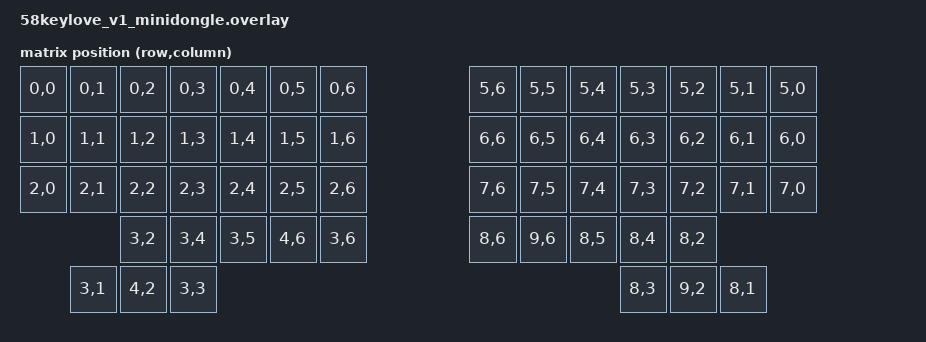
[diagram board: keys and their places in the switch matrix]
#include <dt-bindings/zmk/matrix_transform.h>

/ {
    chosen {
        zmk,kscan = &mock_kscan;
        zephyr,display = &oled;
        zmk,physical-layout = &physical_layout0;
    };

    mock_kscan: mock_kscan_0 {
        compatible = "zmk,kscan-mock";
        columns = <0>;
        rows = <0>;
        events = <0>;
    };

    default_transform: keymap_transform0 {
        compatible = "zmk,matrix-transform";
        columns = <7>; // Length of the "col-gpios" array
        rows = <10>; // Length of the "row-gpios" array
        map = <
            RC(0,0) RC(0,1) RC(0,2) RC(0,3) RC(0,4) RC(0,5) RC(0,6)                 RC(5,6) RC(5,5) RC(5,4) RC(5,3) RC(5,2) RC(5,1) RC(5,0)
            RC(1,0) RC(1,1) RC(1,2) RC(1,3) RC(1,4) RC(1,5) RC(1,6)                 RC(6,6) RC(6,5) RC(6,4) RC(6,3) RC(6,2) RC(6,1) RC(6,0)
            RC(2,0) RC(2,1) RC(2,2) RC(2,3) RC(2,4) RC(2,5) RC(2,6)                 RC(7,6) RC(7,5) RC(7,4) RC(7,3) RC(7,2) RC(7,1) RC(7,0)
                            RC(3,2)         RC(3,4) RC(3,5) RC(4,6) RC(3,6) RC(8,6) RC(9,6) RC(8,5) RC(8,4)         RC(8,2)
                    RC(3,1) RC(4,2) RC(3,3)                                                                 RC(8,3) RC(9,2) RC(8,1)
        >;
    };
};

/ {
    physical_layout0: physical_layout_0 {
        compatible = "zmk,physical-layout";
        display-name = "Default Layout";
        transform = <&default_transform>;
    };
};

&pinctrl {
    /* configuration for i2c0 device, default state */
    i2c0_default: i2c0_default {
        group1 {
            psels = <NRF_PSEL(TWIM_SDA, 0, 24)>,
                <NRF_PSEL(TWIM_SCL, 0, 22)>;
        };
    };

    i2c0_sleep: i2c0_sleep {
        group1 {
            psels = <NRF_PSEL(TWIM_SDA, 0, 24)>,
                <NRF_PSEL(TWIM_SCL, 0, 22)>;
            low-power-enable;
        };
    };
};

&pro_micro_i2c {
    status = "okay";
    pinctrl-0 = <&i2c0_default>;
    pinctrl-1 = <&i2c0_sleep>;
    pinctrl-names = "default", "sleep";
    compatible = "nordic,nrf-twi";
    clock-frequency = <100000>;

    oled: ssd1306@3c {
        compatible = "solomon,ssd1306fb";
        reg = <0x3c>;
        width = <100>;
        height = <40>;
        segment-offset = <0>;
        page-offset = <0>;
        display-offset = <0>;
        multiplex-ratio = <39>;
        //segment-remap;
        //com-invdir;
        //com-sequential;
        inversion-on;
        prechargep = <0x22>;
    };
};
